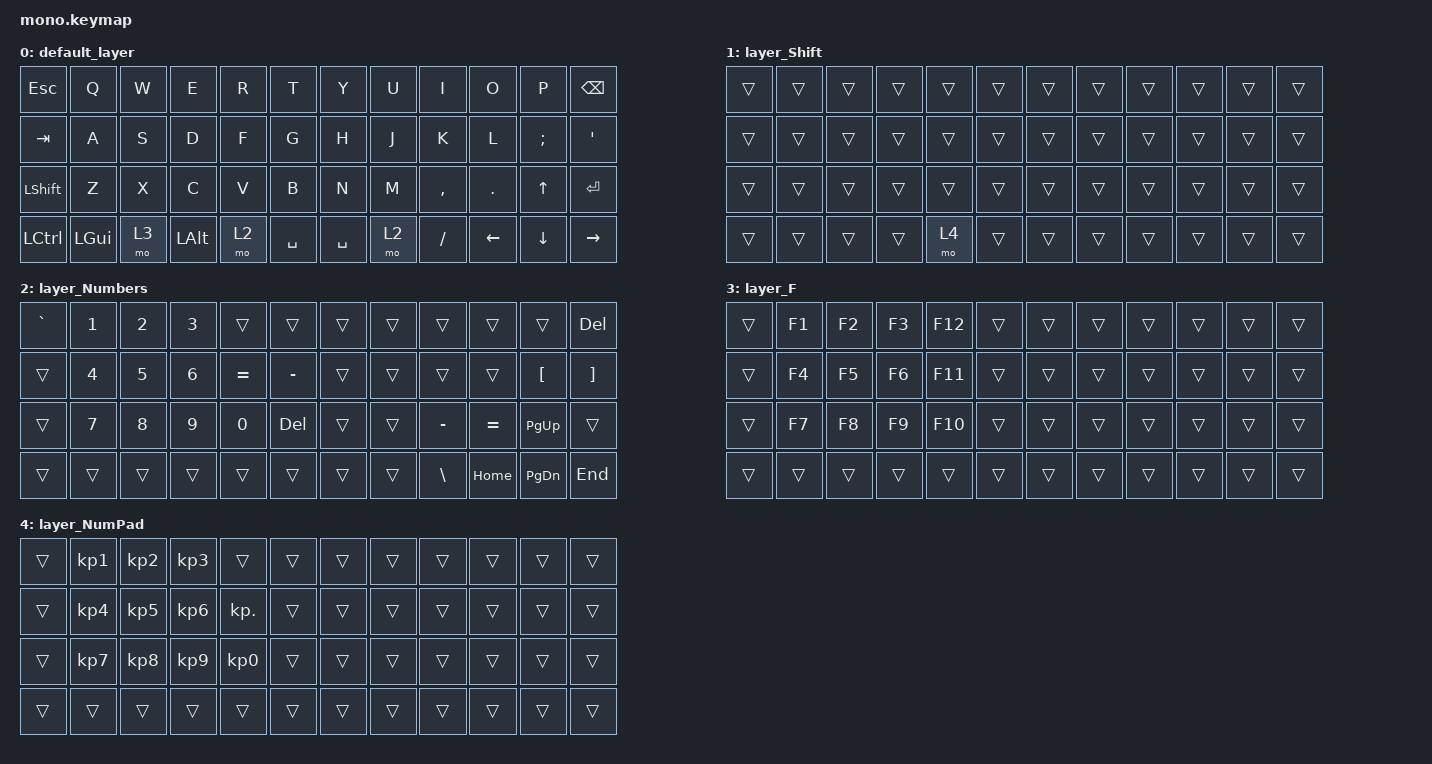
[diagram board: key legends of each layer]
#include <behaviors.dtsi>
#include <dt-bindings/zmk/keys.h>

/ {
    keymap {
        compatible = "zmk,keymap";

        default_layer {
            bindings = <
&kp ESC    &kp Q     &kp W  &kp E     &kp R  &kp T      &kp Y      &kp U  &kp I      &kp O     &kp P     &kp BSPC
&kp TAB    &kp A     &kp S  &kp D     &kp F  &kp G      &kp H      &kp J  &kp K      &kp L     &kp SEMI  &kp SQT
&kp LSHFT  &kp Z     &kp X  &kp C     &kp V  &kp B      &kp N      &kp M  &kp COMMA  &kp DOT   &kp UP    &kp RET
&kp LCTRL  &kp LGUI  &mo 3  &kp LALT  &mo 2  &kp SPACE  &kp SPACE  &mo 2  &kp FSLH   &kp LEFT  &kp DOWN  &kp RIGHT
            >;
        };

        layer_Shift {
            bindings = <
&trans  &trans  &trans  &trans  &trans  &trans  &trans  &trans  &trans  &trans  &trans  &trans
&trans  &trans  &trans  &trans  &trans  &trans  &trans  &trans  &trans  &trans  &trans  &trans
&trans  &trans  &trans  &trans  &trans  &trans  &trans  &trans  &trans  &trans  &trans  &trans
&trans  &trans  &trans  &trans  &mo 4   &trans  &trans  &trans  &trans  &trans  &trans  &trans
            >;
        };

        layer_Numbers {
            bindings = <
&kp GRAVE  &kp N1  &kp N2  &kp N3  &trans     &trans     &trans  &trans  &trans     &trans     &trans     &kp DEL
&trans     &kp N4  &kp N5  &kp N6  &kp EQUAL  &kp MINUS  &trans  &trans  &trans     &trans     &kp LBKT   &kp RBKT
&trans     &kp N7  &kp N8  &kp N9  &kp N0     &kp DEL    &trans  &trans  &kp MINUS  &kp EQUAL  &kp PG_UP  &trans
&trans     &trans  &trans  &trans  &trans     &trans     &trans  &trans  &kp BSLH   &kp HOME   &kp PG_DN  &kp END
            >;
        };

        layer_F {
            bindings = <
&trans  &kp F1  &kp F2  &kp F3  &kp F12  &trans  &trans  &trans  &trans  &trans  &trans  &trans
&trans  &kp F4  &kp F5  &kp F6  &kp F11  &trans  &trans  &trans  &trans  &trans  &trans  &trans
&trans  &kp F7  &kp F8  &kp F9  &kp F10  &trans  &trans  &trans  &trans  &trans  &trans  &trans
&trans  &trans  &trans  &trans  &trans   &trans  &trans  &trans  &trans  &trans  &trans  &trans
            >;
        };

        layer_NumPad {
            bindings = <
&trans  &kp KP_N1  &kp KP_N2  &kp KP_N3  &trans      &trans  &trans  &trans  &trans  &trans  &trans  &trans
&trans  &kp KP_N4  &kp KP_N5  &kp KP_N6  &kp KP_DOT  &trans  &trans  &trans  &trans  &trans  &trans  &trans
&trans  &kp KP_N7  &kp KP_N8  &kp KP_N9  &kp KP_N0   &trans  &trans  &trans  &trans  &trans  &trans  &trans
&trans  &trans     &trans     &trans     &trans      &trans  &trans  &trans  &trans  &trans  &trans  &trans
            >;
        };
    };
};
